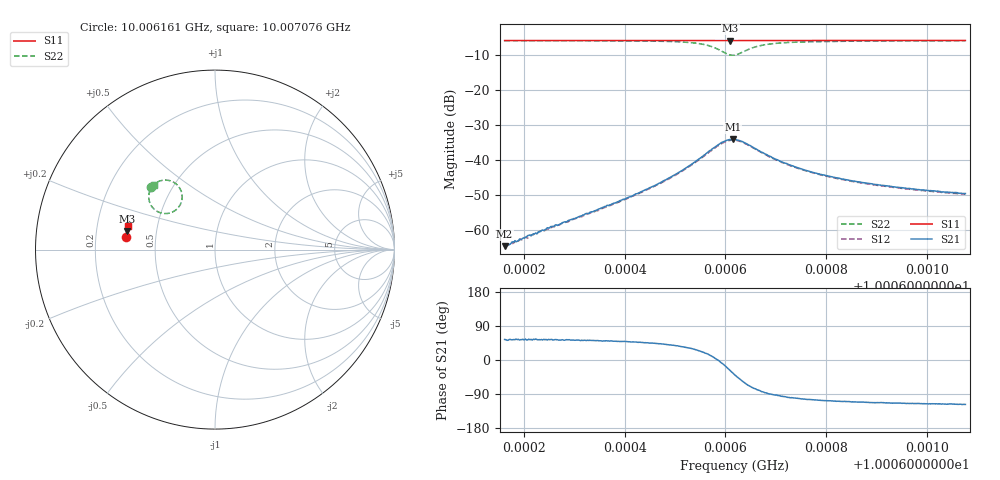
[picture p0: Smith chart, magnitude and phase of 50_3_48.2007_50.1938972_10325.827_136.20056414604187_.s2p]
#  HZ  S  RI  R  50.00
! Rohde & Schwarz Vector Network Analyzer
! Rohde-Schwarz,ZNB20-2Port,1311601062101988,3.16
! Created: UTC 3/20/2024, 11:38:14 AM
! freq[Hz]  re:S11  im:S11  re:S21  im:S21  re:S12  im:S12  re:S22  im:S22
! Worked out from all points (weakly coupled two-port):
!   401 points, 10.006161 GHz to 10.007076 GHz, reference 50 ohm
!   highest |S21| = -34.10 dB at 10.006614 GHz (marker M1); lowest = -64.5 dB at 10.006161 GHz (marker M2)
!   lowest |S11| = -6.0 dB at 10.00661 GHz (marker M3), VSWR 3.00, Z = 16.8 + j4.53 ohm
!   |S11| at or under -10 dB: nowhere
!   |S22| runs from -10.2 to -6.0 dB; largest |S21 - S12| = 0.0015
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1.00061615e10  -0.4965 0.0728  0.000347 0.000481  0.000324 0.000501  -0.3572 0.3489
1.00061706e10  -0.4965 0.0734  0.000366 0.000506  0.000338 0.000536  -0.3565 0.3495
1.00061775e10  -0.4965 0.0738  0.000406 0.000548  0.000367 0.000531  -0.3559 0.3501
1.00062507e10  -0.4957 0.0787  0.000641 0.000869  0.000593 0.000908  -0.3497 0.3562
1.00063147e10  -0.4951 0.083  0.000984 0.00127  0.000895 0.00127  -0.3428 0.3623
1.00064131e10  -0.4943 0.0893  0.00204 0.00223  0.00193 0.00232  -0.3261 0.3739
1.0006468e10  -0.4935 0.093  0.00341 0.00317  0.00318 0.00326  -0.3087 0.382
1.00065137e10  -0.4929 0.096  0.00579 0.00407  0.00547 0.00424  -0.282 0.3872
1.00065594e10  -0.4919 0.099  0.0113 0.00374  0.0109 0.00425  -0.2282 0.374
1.00065892e10  -0.4907 0.1006  0.0171 -0.00135  0.0165 -0.000552  -0.1852 0.3146
1.00066006e10  -0.4905 0.101  0.018 -0.00556  0.0178 -0.00431  -0.1852 0.2736
1.00066098e10  -0.4903 0.101  0.0172 -0.00929  0.0172 -0.00808  -0.2 0.2402
1.00066143e10  -0.4904 0.1011  0.0164 -0.011  0.0165 -0.00983  -0.2121 0.2262
1.00066189e10  -0.4904 0.1013  0.015 -0.0126  0.0155 -0.0112  -0.2266 0.215
1.00066372e10  -0.4907 0.102  0.00903 -0.0152  0.00969 -0.0144  -0.2898 0.2017
1.00066532e10  -0.491 0.103  0.00456 -0.0147  0.00534 -0.0142  -0.3295 0.2176
1.00066715e10  -0.4911 0.1042  0.00147 -0.0128  0.0022 -0.0125  -0.3536 0.2424
1.00067173e10  -0.4909 0.1075  -0.00105 -0.009  -0.000537 -0.00887  -0.3689 0.2878
1.00067721e10  -0.4905 0.1112  -0.00169 -0.00647  -0.00138 -0.00647  -0.3665 0.3156
1.00068545e10  -0.4895 0.1165  -0.00175 -0.0047  -0.0015 -0.00466  -0.3592 0.3367
1.00069254e10  -0.4885 0.1212  -0.00167 -0.0039  -0.00145 -0.00387  -0.3531 0.3476
1.00070763e10  -0.4863 0.1307  -0.00152 -0.00296  -0.00132 -0.00295  -0.3423 0.3626
